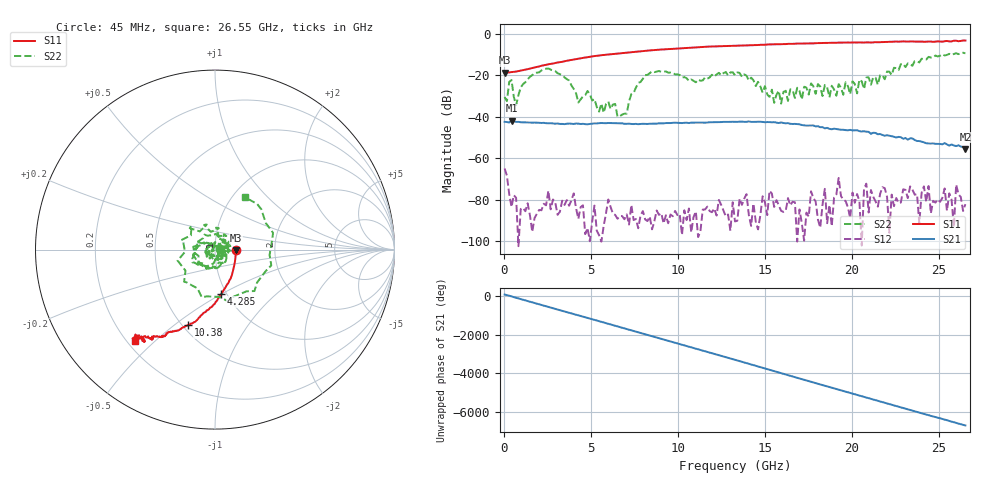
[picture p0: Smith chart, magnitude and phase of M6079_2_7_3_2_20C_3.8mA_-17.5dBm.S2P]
!  2-Port S-parameters saved by WinCal
! VAR MeasName=S-Parameters (CALIBRATED_DATA) read from VNA (C)
! VAR MeasDate=10/5/2015 6:03:09 PM
! VAR NAME=M6079_2_7_3_2_20C_3.8mA_-17.5dBm
! VAR FILENAME=M6079_2_7_3_2_20C_3.8mA_-17.5dBm.S2P
! VAR DATE=10/5/2015 6:03:09 PM
! VAR PHYS_PORTS=2,1
! VAR ObjTypeName=DATASET
! VAR IndexType=Frequency
# Hz S RI R 50
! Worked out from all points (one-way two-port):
!   201 points, 45 MHz to 26.55 GHz, reference 50 ohm
!   highest |S21| = -41.93 dB at 442.5 MHz (marker M1); lowest = -55.6 dB at 26.55 GHz (marker M2)
!   lowest |S11| = -18.8 dB at 45 MHz (marker M3), VSWR 1.26, Z = 62.9 - j0.171 ohm
!   |S11| at or under -10 dB: start of sweep to 6.092 GHz
!   |S22| runs from -40.0 to -9.2 dB; largest |S21 - S12| = 0.0079
!   S11 on the Smith chart (normalised r, x): 45 MHz: 1.26, -0.00; 4.285 GHz: 0.95, -0.50; 10.38 GHz: 0.53, -0.56; 26.55 GHz: 0.23, -0.43
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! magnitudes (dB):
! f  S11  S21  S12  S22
! 45 MHz  -18.8  -42.5  -65.0  -30.5
! 442.5 MHz  -18.6  -41.9  -83.6  -22.4
! 707.5 MHz  -18.3  -42.6  -79.1  -34.5
! 2.562 GHz  -14.8  -43.2  -75.7  -16.8
! 4.285 GHz  -12.1  -43.4  -89.3  -33.2
! 4.55 GHz  -11.7  -43.5  -82.7  -30.2
! 6.67 GHz  -9.5  -43.3  -87.9  -39.8
! 8.922 GHz  -7.8  -43.2  -87.3  -18.0
! 10.38 GHz  -7.0  -43.0  -85.1  -21.0
! 13.29 GHz  -5.8  -42.5  -90.5  -20.1
! 15.55 GHz  -5.2  -42.7  -83.5  -33.3
! 17.8 GHz  -4.7  -44.3  -79.2  -25.4
! 18.86 GHz  -4.4  -46.1  -92.8  -25.1
! 19.26 GHz  -4.4  -46.2  -69.5  -24.4
! 19.52 GHz  -4.3  -46.3  -80.0  -29.4
! 20.85 GHz  -4.2  -47.3  -72.3  -21.1
! 20.98 GHz  -4.2  -47.3  -86.2  -21.1
! 22.17 GHz  -4.0  -49.2  -96.0  -18.3
! 24.43 GHz  -3.8  -52.9  -73.5  -11.2
! 25.88 GHz  -3.4  -53.9  -93.3  -9.8
! 26.02 GHz  -3.4  -54.2  -72.7  -9.5
! 26.55 GHz  -3.4  -55.6  -82.2  -9.5
